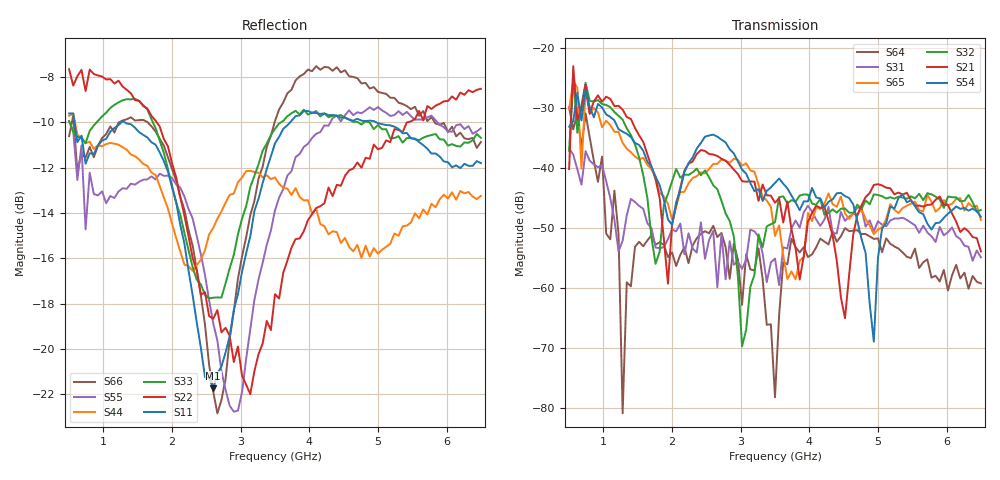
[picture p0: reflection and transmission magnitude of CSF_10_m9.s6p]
!Keysight Technologies,M9804A,MY58100912,A.14.10.03
!Date: Thursday, April 27, 2023 10:28:33
!Correction: S11(C  6-Port  )
!S12(C  6-Port  )
!S13(C  6-Port  )
!S14(C  6-Port  )
!S15(C  6-Port  )
!S16(C  6-Port  )
!S21(C  6-Port  )
!S22(C  6-Port  )
!S23(C  6-Port  )
!S24(C  6-Port  )
!S25(C  6-Port  )
!S26(C  6-Port  )
!S31(C  6-Port  )
!S32(C  6-Port  )
!S33(C  6-Port  )
!S34(C  6-Port  )
!S35(C  6-Port  )
!S36(C  6-Port  )
!S41(C  6-Port  )
!S42(C  6-Port  )
!S43(C  6-Port  )
!S44(C  6-Port  )
!S45(C  6-Port  )
!S46(C  6-Port  )
!S51(C  6-Port  )
!S52(C  6-Port  )
!S53(C  6-Port  )
!S54(C  6-Port  )
!S55(C  6-Port  )
!S56(C  6-Port  )
!S61(C  6-Port  )
!S62(C  6-Port  )
!S63(C  6-Port  )
!S64(C  6-Port  )
!S65(C  6-Port  )
!S66(C  6-Port  )
!S6P File: Measurement: :
# Hz S  RI  R 50
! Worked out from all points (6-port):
!   101 points, 500 MHz to 6.5 GHz, reference 50 ohm
!   strongest paths, dB at 500 MHz, 2 GHz, 3.5 GHz, 5 GHz, 6.5 GHz:
!     S54: -33.2, -49.5, -42.5, -55.0, -48.2
!     S21: -40.2, -49.5, -45.8, -42.7, -53.9
!     S32: -37.2, -42.2, -49.1, -44.5, -47.0
!     S65: -30.3, -48.6, -51.3, -50.3, -48.7
!     S31: -36.8, -50.3, -55.1, -48.9, -54.9
!     S64: -29.9, -54.1, -78.2, -51.7, -59.2
!   lowest |S11| = -21.7 dB at 2.6 GHz (marker M1), VSWR 1.18, Z = 42.7 + j2.01 ohm
!   |S11| at or under -10 dB: 579 MHz to 1.26 GHz (681.3 MHz wide, 74.1 % of centre); 1.314 GHz to 3.718 GHz (2.404 GHz wide, 95.6 % of centre); 4.981 GHz to end of sweep
